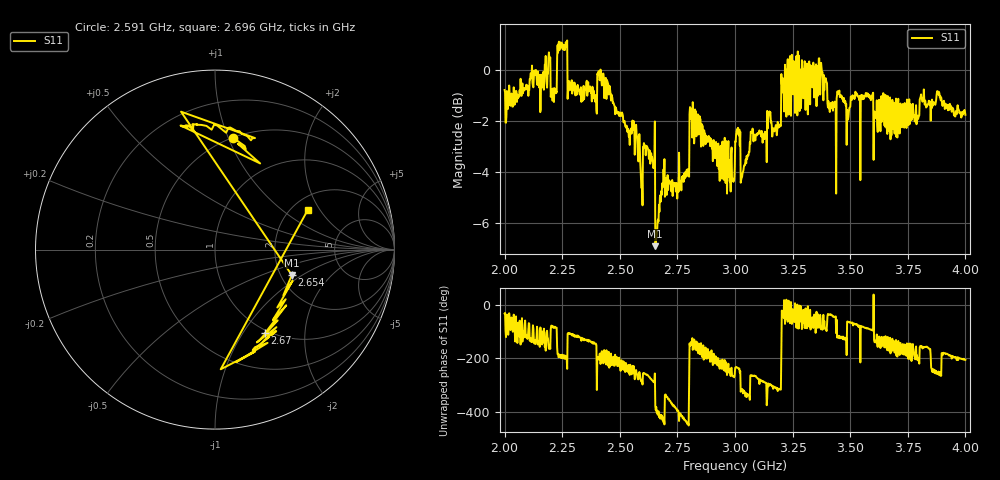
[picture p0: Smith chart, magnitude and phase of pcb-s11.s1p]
# HZ S RI R 50
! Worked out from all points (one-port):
!   1010 points, 2 GHz to 4 GHz, reference 50 ohm
!   lowest |S11| = -6.9 dB at 2.654 GHz (marker M1), VSWR 2.64, Z = 115 - j40.9 ohm
!   |S11| at or under -10 dB: nowhere
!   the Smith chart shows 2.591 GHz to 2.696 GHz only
!   S11 on the Smith chart (normalised r, x): 2.591 GHz: 0.50, +1.04; 2.654 GHz: 2.29, -0.82; 2.67 GHz: 0.95, -1.26; 2.696 GHz: 2.42, +1.58
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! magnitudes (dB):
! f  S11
! 2 GHz  -0.8
! 2.188 GHz  -0.2
! 2.216 GHz  -0.7
! 2.252 GHz  0.8
! 2.283 GHz  -0.5
! 2.412 GHz  -0.4
! 2.501 GHz  -1.7
! 2.565 GHz  -3.3
! 2.591 GHz  -4.0
! 2.642 GHz  -3.6
! 2.654 GHz  -6.9
! 2.67 GHz  -5.3
! 2.696 GHz  -5.0
! 2.751 GHz  -4.6
! 2.791 GHz  -3.9
! 2.813 GHz  -1.9
! 2.987 GHz  -4.3
! 3.001 GHz  -2.8
! 3.013 GHz  -2.3
! 3.035 GHz  -4.0
! 3.074 GHz  -2.4
! 3.189 GHz  -2.3
! 3.211 GHz  -0.4
! 3.251 GHz  -0.8
! 3.5 GHz  -1.4
! 3.75 GHz  -1.7
! 3.885 GHz  -0.9
! 4 GHz  -1.8
